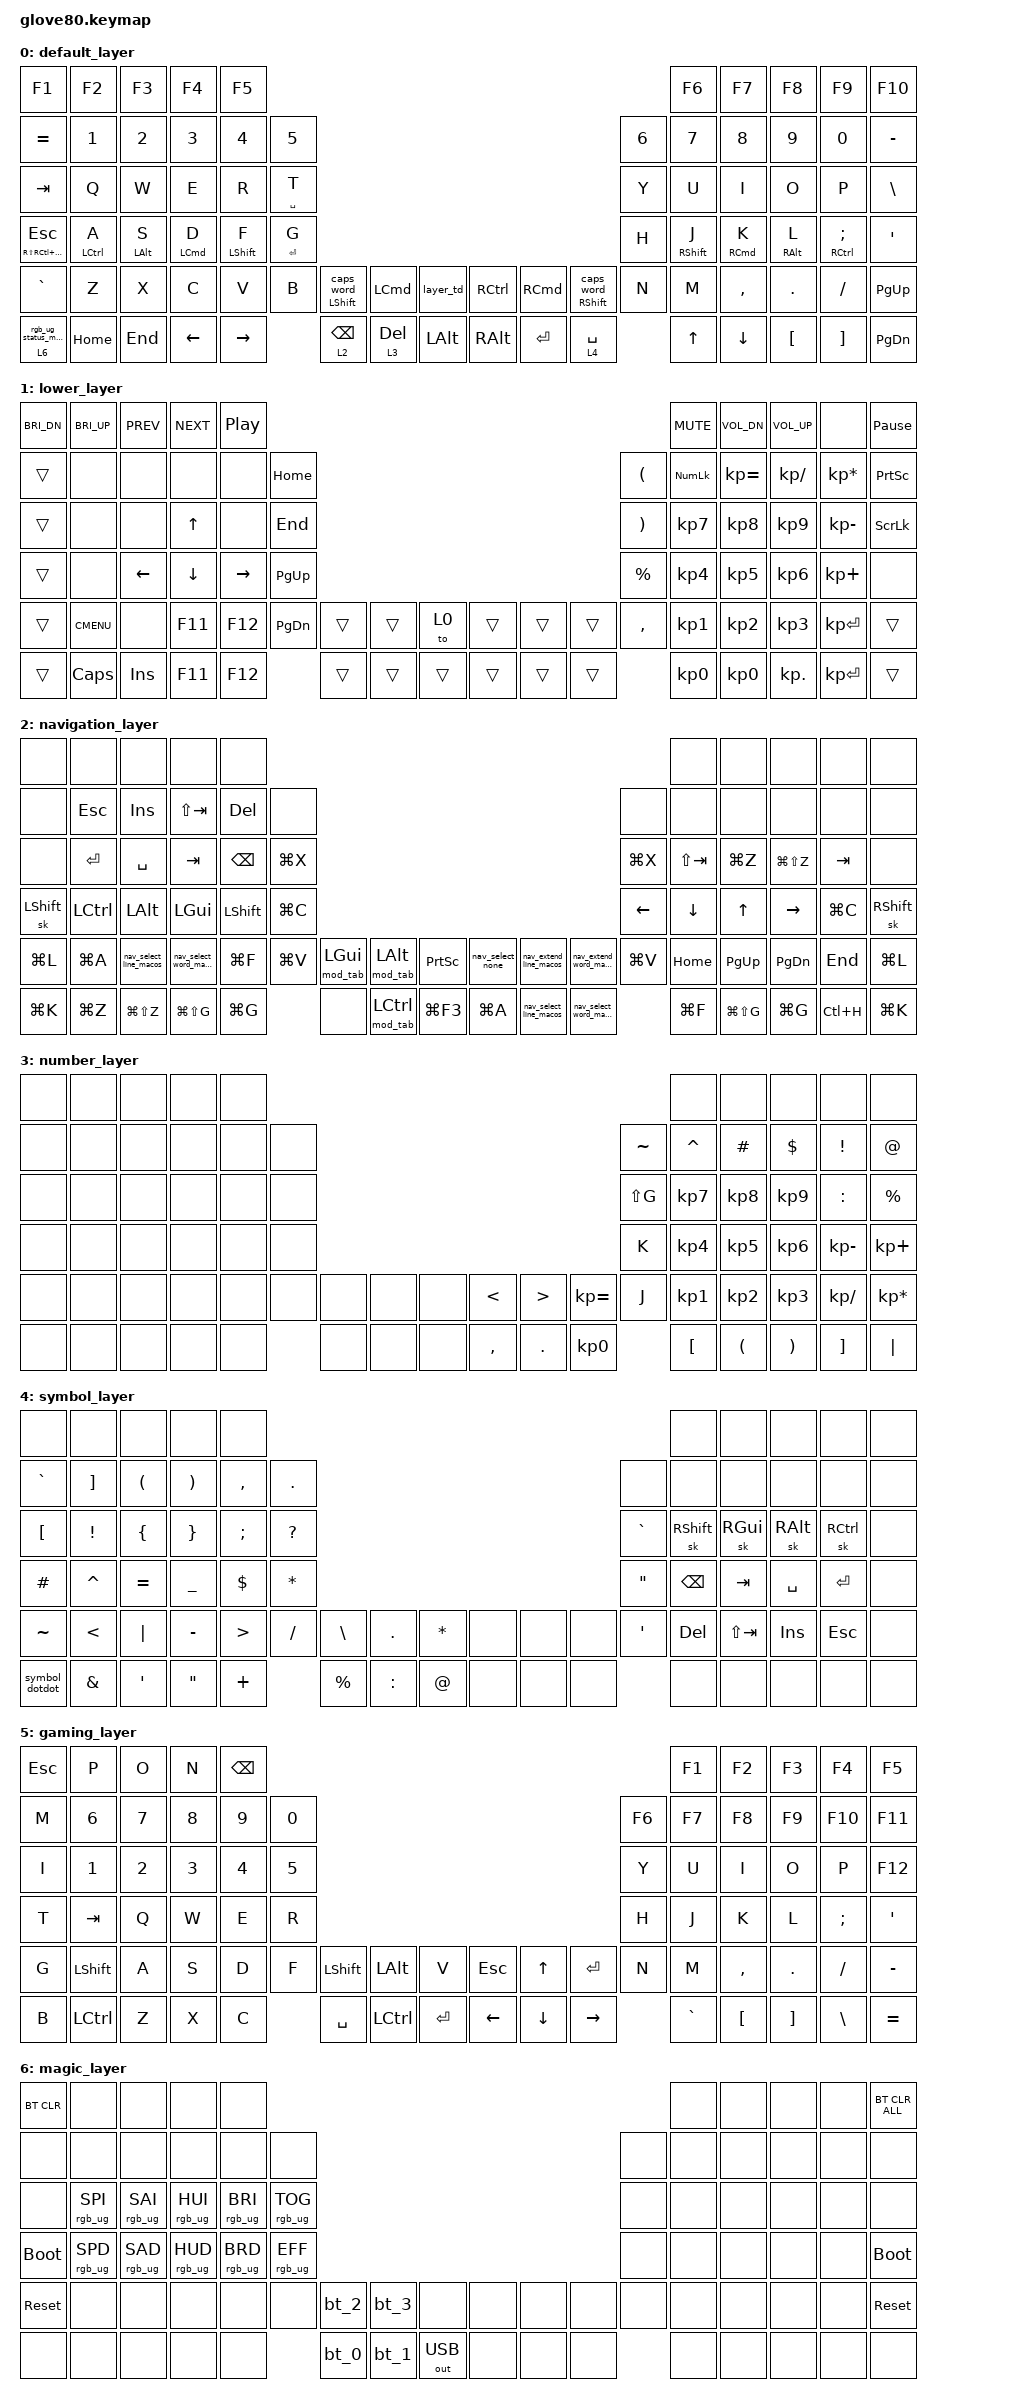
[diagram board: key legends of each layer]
/*
 * Copyright (c) 2020 The ZMK Contributors
 *
 * SPDX-License-Identifier: MIT
 */

#include <behaviors.dtsi>
#include <dt-bindings/zmk/bt.h>
#include <dt-bindings/zmk/keys.h>
#include <dt-bindings/zmk/outputs.h>
#include <dt-bindings/zmk/rgb.h>

#define HYPER LC(LS(LG(LALT)))

// layers

#define DEFAULT 0
#define LOWER 1
#define MAGIC 2
#define FACTORY_TEST 3

/ {
    behaviors {
        // For the "layer" key, it'd nice to be able to use it as either a shift or a toggle.
        // Configure it as a tap dance, so the first tap (or hold) is a &mo and the second tap is a &to

        layer_td: tap_dance_0 {
            compatible = "zmk,behavior-tap-dance";
            label = "LAYER_TAP_DANCE";
            #binding-cells = <0>;
            tapping-term-ms = <200>;
            bindings = <&mo 1>, <&to 1>;
        };

        magic: magic_hold_tap {
            compatible = "zmk,behavior-hold-tap";
            label = "MAGIC_HOLD_TAP";
            #binding-cells = <2>;
            flavor = "tap-preferred";
            tapping-term-ms = <200>;
            bindings = <&mo>, <&rgb_ug_status_macro>;
        };

        hm: hm {
            compatible = "zmk,behavior-hold-tap";
            label = "HM";
            bindings = <&kp>, <&kp>;

            #binding-cells = <2>;
            tapping-term-ms = <400>;
            quick-tap-ms = <400>;
            require-prior-idle-ms = <400>;
            flavor = "tap-preferred";
        };

        hm_capsword: hm_capsword {
            compatible = "zmk,behavior-hold-tap";
            label = "HM_CAPSWORD";
            bindings = <&kp>, <&caps_word>;

            #binding-cells = <2>;
            tapping-term-ms = <200>;
        };

        hm_space: hm_space {
            compatible = "zmk,behavior-hold-tap";
            label = "HM_SPACE";
            bindings = <&mo>, <&kp>;

            #binding-cells = <2>;
            flavor = "balanced";
            tapping-term-ms = <200>;
            quick-tap-ms = <150>;
        };

        hm_thumb: hm_thumb {
            compatible = "zmk,behavior-hold-tap";
            label = "HM_THUMB";
            bindings = <&mo>, <&kp>;

            #binding-cells = <2>;
            tapping-term-ms = <200>;
            quick-tap-ms = <300>;
            flavor = "balanced";
        };

        hrm_left_hand: hrm_left_hand {
            compatible = "zmk,behavior-hold-tap";
            label = "HRM_LEFT_HAND";
            bindings = <&kp>, <&kp>;

            #binding-cells = <2>;
            tapping-term-ms = <280>;
            quick-tap-ms = <175>;
            require-prior-idle-ms = <150>;
            flavor = "balanced";
            hold-trigger-key-positions = <8 9 16 17 18 19 20 21 28 29 30 31 32 33 40 41 42 43 44 45 52 53 54 55 56 57 58 59 60 61 62 63 69 70 71 72 73 74 75 76 77 78 79 7 6 5>;
            hold-trigger-on-release;
        };

        hrm_right_hand: hrm_right_hand {
            compatible = "zmk,behavior-hold-tap";
            label = "HRM_RIGHT_HAND";
            bindings = <&kp>, <&kp>;

            #binding-cells = <2>;
            tapping-term-ms = <280>;
            quick-tap-ms = <175>;
            require-prior-idle-ms = <150>;
            flavor = "balanced";
            hold-trigger-on-release;
            hold-trigger-key-positions = <0 1 2 3 4 10 11 12 13 14 15 22 23 24 25 26 27 34 35 36 37 38 39 46 47 48 49 50 51 52 53 54 55 56 57 64 65 66 67 68 69 70 71 72 73 74>;
        };
    };

    macros {
        rgb_ug_status_macro: rgb_ug_status_macro_0 {
            label = "RGB_UG_STATUS";
            compatible = "zmk,behavior-macro";
            #binding-cells = <0>;
            bindings = <&rgb_ug RGB_STATUS>;
        };

        bt_0: bt_profile_macro_0 {
            label = "BT_0";
            compatible = "zmk,behavior-macro";
            #binding-cells = <0>;
            bindings = <&out OUT_BLE &bt BT_SEL 0>;
        };

        bt_1: bt_profile_macro_1 {
            label = "BT_1";
            compatible = "zmk,behavior-macro";
            #binding-cells = <0>;
            bindings = <&out OUT_BLE &bt BT_SEL 1>;
        };

        bt_2: bt_profile_macro_2 {
            label = "BT_2";
            compatible = "zmk,behavior-macro";
            #binding-cells = <0>;
            bindings = <&out OUT_BLE &bt BT_SEL 2>;
        };

        bt_3: bt_profile_macro_3 {
            label = "BT_3";
            compatible = "zmk,behavior-macro";
            #binding-cells = <0>;
            bindings = <&out OUT_BLE &bt BT_SEL 3>;
        };

        symbol_dotdot: symbol_dotdot {
            compatible = "zmk,behavior-macro";
            #binding-cells = <0>;
            bindings = <&macro_tap>, <&kp DOT &kp DOT>;

            label = "SYMBOL_DOTDOT";
        };

        mod_tab: mod_tab {
            compatible = "zmk,behavior-macro-one-param";
            #binding-cells = <1>;
            bindings =
                <&macro_press>,
                <&macro_param_1to1 &kp MACRO_PLACEHOLDER>,
                <&macro_tap>,
                <&kp TAB>,
                <&macro_pause_for_release>,
                <&macro_release>,
                <&macro_param_1to1 &kp MACRO_PLACEHOLDER>;

            label = "MOD_TAB";
            wait-ms = <0>;
            tap-ms = <0>;
        };

        nav_select_none: nav_select_none {
            compatible = "zmk,behavior-macro";
            #binding-cells = <0>;
            bindings = <&kp DOWN &kp UP &kp RIGHT &kp LEFT>;
            label = "NAV_SELECT_NONE";
            wait-ms = <1>;
            tap-ms = <1>;
        };

        nav_select_word_macos: nav_select_word_macos {
            compatible = "zmk,behavior-macro";
            #binding-cells = <0>;
            bindings = <&kp LA(LEFT) &kp LA(LS(RIGHT))>;
            label = "NAV_SELECT_WORD_MACOS";
        };

        nav_select_line_macos: nav_select_line_macos {
            compatible = "zmk,behavior-macro";
            #binding-cells = <0>;
            bindings = <&kp LG(LEFT) &kp LG(LS(RIGHT))>;
            label = "NAV_SELECT_LINE_MACOS";
        };

        nav_extend_word_macos: nav_extend_word_macos {
            compatible = "zmk,behavior-macro";
            #binding-cells = <0>;
            bindings = <&kp LA(LS(RIGHT))>;
            label = "NAV_EXTEND_WORD_MACOS";
        };

        nav_extend_line_macos: nav_extend_line_macos {
            compatible = "zmk,behavior-macro";
            #binding-cells = <0>;
            bindings = <&kp LG(LS(RIGHT))>;
            label = "NAV_EXTEND_LINE_MACOS";
        };
    };

    combos {
        compatible = "zmk,combos";

        gaming_layer_toggle {
            bindings = <&tog 5>;
            key-positions = <68 51>;
            timeout-ms = <50>;
        };
    };

    keymap {
        compatible = "zmk,keymap";

        default_layer {
            // ---------------------------------------------------------------------------------------------------------------------------------
            // |  F1   |  F2 |  F3 |  F4  |  F5  |                                                               |  F6   |  F7   |  F8  |   F9  |  F10 |
            // |  =    |  1  |  2  |  3   |  4   |  5   |                                                 |  6   |   7   |   8   |  9   |   0   |   -  |
            // |  TAB  |  Q  |  W  |  E   |  R   |  T   |                                                 |  Y   |   U   |   I   |  O   |   P   |   \  |
            // |  ESC  |  A  |  S  |  D   |  F   |  G   |                                                 |  H   |   J   |   K   |  L   |   ;   |   '  |
            // |   `   |  Z  |  X  |  C   |  V   |  B   | LSHFT | LCTRL | LOWER | | LGUI  | RCTRL | RSHFT |  N   |   M   |   ,   |  .   |   /   | PGUP |
            // | MAGIC | HOME| END | LEFT | RIGHT|      | BSPC  | DEL   | LALT  | | RALT  | RET   | SPACE |      |  UP   | DOWN  |  [   |   ]   | PGDN |

            bindings = <
&kp F1                   &kp F2                         &kp F3                     &kp F4                         &kp F5                                                                                                                                                              &kp F6                         &kp F7                           &kp F8                       &kp F9                                   &kp F10
&kp EQUAL                &kp N1                         &kp N2                     &kp N3                         &kp N4                       &kp N5                                                                                                                         &kp N6  &kp N7                         &kp N8                           &kp N9                       &kp N0                                   &kp MINUS
&kp TAB                  &kp Q                          &kp W                      &kp E                          &kp R                        &hm SPACE T                                                                                                                    &kp Y   &kp U                          &kp I                            &kp O                        &kp P                                    &kp BSLH
&hm RS(RC(RALT)) ESCAPE  &hrm_left_hand LEFT_CONTROL A  &hrm_left_hand LEFT_ALT S  &hrm_left_hand LEFT_COMMAND D  &hrm_left_hand LEFT_SHIFT F  &hm ENTER G                                                                                                                    &kp H   &hrm_right_hand RIGHT_SHIFT J  &hrm_right_hand RIGHT_COMMAND K  &hrm_right_hand RIGHT_ALT L  &hrm_right_hand RIGHT_CONTROL SEMICOLON  &kp SQT
&kp GRAVE                &kp Z                          &kp X                      &kp C                          &kp V                        &kp B        &hm_capsword LSHIFT 0  &kp LEFT_COMMAND    &layer_td  &kp RIGHT_CONTROL  &kp RIGHT_COMMAND  &hm_capsword RSHFT 0  &kp N   &kp M                          &kp COMMA                        &kp DOT                      &kp FSLH                                 &kp PG_UP
&magic 6 0               &kp HOME                       &kp END                    &kp LEFT                       &kp RIGHT                                 &hm_thumb 2 BACKSPACE  &hm_thumb 3 DELETE  &kp LALT   &kp RALT           &kp RET            &hm_space 4 SPACE             &kp UP                         &kp DOWN                         &kp LBKT                     &kp RBKT                                 &kp PG_DN
            >;
        };

        lower_layer {
            bindings = <
&kp C_BRI_DN  &kp C_BRI_UP  &kp C_PREV  &kp C_NEXT  &kp C_PP                                                                         &kp C_MUTE  &kp C_VOL_DN  &kp C_VOL_UP   &none            &kp PAUSE_BREAK
&trans        &none         &none       &none       &none      &kp HOME                                                   &kp LPAR   &kp KP_NUM  &kp KP_EQUAL  &kp KP_DIVIDE  &kp KP_MULTIPLY  &kp PSCRN
&trans        &none         &none       &kp UP      &none      &kp END                                                    &kp RPAR   &kp KP_N7   &kp KP_N8     &kp KP_N9      &kp KP_MINUS     &kp SLCK
&trans        &none         &kp LEFT    &kp DOWN    &kp RIGHT  &kp PG_UP                                                  &kp PRCNT  &kp KP_N4   &kp KP_N5     &kp KP_N6      &kp KP_PLUS      &none
&trans        &kp K_CMENU   &none       &kp F11     &kp F12    &kp PG_DN  &trans  &trans  &to 0   &trans  &trans  &trans  &kp COMMA  &kp KP_N1   &kp KP_N2     &kp KP_N3      &kp KP_ENTER     &trans
&trans        &kp CAPS      &kp INS     &kp F11     &kp F12               &trans  &trans  &trans  &trans  &trans  &trans             &kp KP_N0   &kp KP_N0     &kp KP_DOT     &kp KP_ENTER     &trans
            >;
        };

        navigation_layer {
            bindings = <
&none       &none       &none                   &none                   &none                                                                                                                                                  &none        &none          &none          &none      &none
&none       &kp ESCAPE  &kp INSERT              &kp LS(TAB)             &kp DELETE     &none                                                                                                                        &none      &none        &none          &none          &none      &none
&none       &kp ENTER   &kp SPACE               &kp TAB                 &kp BACKSPACE  &kp LG(X)                                                                                                                    &kp LG(X)  &kp LS(TAB)  &kp LG(Z)      &kp LG(LS(Z))  &kp TAB    &none
&sk LSHIFT  &kp LCTRL   &kp LEFT_ALT            &kp LGUI                &kp LSHIFT     &kp LG(C)                                                                                                                    &kp LEFT   &kp DOWN     &kp UP         &kp RIGHT      &kp LG(C)  &sk RSHIFT
&kp LG(L)   &kp LG(A)   &nav_select_line_macos  &nav_select_word_macos  &kp LG(F)      &kp LG(V)  &mod_tab LGUI  &mod_tab LALT   &kp PRINTSCREEN  &nav_select_none  &nav_extend_line_macos  &nav_extend_word_macos  &kp LG(V)  &kp HOME     &kp PAGE_UP    &kp PAGE_DOWN  &kp END    &kp LG(L)
&kp LG(K)   &kp LG(Z)   &kp LG(LS(Z))           &kp LG(LS(G))           &kp LG(G)                 &none          &mod_tab LCTRL  &kp LG(F3)       &kp LG(A)         &nav_select_line_macos  &nav_select_word_macos             &kp LG(F)    &kp LG(LS(G))  &kp LG(G)      &kp LC(H)  &kp LG(K)
            >;
        };

        number_layer {
            bindings = <
&none  &none  &none  &none  &none                                                                              &none             &none                 &none                  &none              &none
&none  &none  &none  &none  &none  &none                                                            &kp TILDE  &kp CARET         &kp HASH              &kp DLLR               &kp EXCL           &kp AT
&none  &none  &none  &none  &none  &none                                                            &kp LS(G)  &kp KP_N7         &kp KP_N8             &kp KP_N9              &kp COLON          &kp PRCNT
&none  &none  &none  &none  &none  &none                                                            &kp K      &kp KP_N4         &kp KP_N5             &kp KP_N6              &kp KP_MINUS       &kp KP_PLUS
&none  &none  &none  &none  &none  &none  &none  &none  &none  &kp LT     &kp GT      &kp KP_EQUAL  &kp J      &kp KP_N1         &kp KP_N2             &kp KP_N3              &kp KP_DIVIDE      &kp KP_MULTIPLY
&none  &none  &none  &none  &none         &none  &none  &none  &kp COMMA  &kp PERIOD  &kp KP_N0                &kp LEFT_BRACKET  &kp LEFT_PARENTHESIS  &kp RIGHT_PARENTHESIS  &kp RIGHT_BRACKET  &kp PIPE
            >;
        };

        symbol_layer {
            bindings = <
&none             &none              &none                 &none                  &none                                                                                    &none          &none        &none       &none      &none
&kp GRAVE         &kp RIGHT_BRACKET  &kp LEFT_PARENTHESIS  &kp RIGHT_PARENTHESIS  &kp COMMA   &kp PERIOD                                                        &none      &none          &none        &none       &none      &none
&kp LEFT_BRACKET  &kp EXCL           &kp LEFT_BRACE        &kp RIGHT_BRACE        &kp SEMI    &kp QMARK                                                         &kp GRAVE  &sk RSHIFT     &sk RGUI     &sk RALT    &sk RCTRL  &none
&kp HASH          &kp CARET          &kp EQUAL             &kp UNDER              &kp DOLLAR  &kp STAR                                                          &kp DQT    &kp BACKSPACE  &kp TAB      &kp SPACE   &kp ENTER  &none
&kp TILDE         &kp LT             &kp PIPE              &kp MINUS              &kp GT      &kp FSLH    &kp BSLH   &kp PERIOD  &kp STAR  &none  &none  &none  &kp SQT    &kp DEL        &kp LS(TAB)  &kp INSERT  &kp ESC    &none
&symbol_dotdot    &kp AMPS           &kp SQT               &kp DQT                &kp PLUS                &kp PRCNT  &kp COLON   &kp AT    &none  &none  &none             &none          &none        &none       &none      &none
            >;
        };

        gaming_layer {
            bindings = <
&kp ESCAPE  &kp P             &kp O         &kp N         &kp BACKSPACE                                                                                                   &kp F1     &kp F2            &kp F3             &kp F4         &kp F5
&kp M       &kp NUMBER_6      &kp NUMBER_7  &kp NUMBER_8  &kp NUMBER_9   &kp NUMBER_0                                                                             &kp F6  &kp F7     &kp F8            &kp F9             &kp F10        &kp F11
&kp I       &kp NUMBER_1      &kp NUMBER_2  &kp NUMBER_3  &kp NUMBER_4   &kp NUMBER_5                                                                             &kp Y   &kp U      &kp I             &kp O              &kp P          &kp F12
&kp T       &kp TAB           &kp Q         &kp W         &kp E          &kp R                                                                                    &kp H   &kp J      &kp K             &kp L              &kp SEMICOLON  &kp SQT
&kp G       &kp LEFT_SHIFT    &kp A         &kp S         &kp D          &kp F         &kp LEFT_SHIFT  &kp LALT   &kp V      &kp ESCAPE  &kp UP_ARROW  &kp ENTER  &kp N   &kp M      &kp COMMA         &kp PERIOD         &kp SLASH      &kp MINUS
&kp B       &kp LEFT_CONTROL  &kp Z         &kp X         &kp C                        &kp SPACE       &kp LCTRL  &kp ENTER  &kp LEFT    &kp DOWN      &kp RIGHT          &kp GRAVE  &kp LEFT_BRACKET  &kp RIGHT_BRACKET  &kp BACKSLASH  &kp EQUAL
            >;
        };

        magic_layer {
            bindings = <
&bt BT_CLR   &none            &none            &none            &none                                                                                     &none  &none  &none  &none  &bt BT_CLR_ALL
&none        &none            &none            &none            &none            &none                                                             &none  &none  &none  &none  &none  &none
&none        &rgb_ug RGB_SPI  &rgb_ug RGB_SAI  &rgb_ug RGB_HUI  &rgb_ug RGB_BRI  &rgb_ug RGB_TOG                                                   &none  &none  &none  &none  &none  &none
&bootloader  &rgb_ug RGB_SPD  &rgb_ug RGB_SAD  &rgb_ug RGB_HUD  &rgb_ug RGB_BRD  &rgb_ug RGB_EFF                                                   &none  &none  &none  &none  &none  &bootloader
&sys_reset   &none            &none            &none            &none            &none            &bt_2  &bt_3  &none         &none  &none  &none  &none  &none  &none  &none  &none  &sys_reset
&none        &none            &none            &none            &none                             &bt_0  &bt_1  &out OUT_USB  &none  &none  &none         &none  &none  &none  &none  &none
            >;
        };
    };
};
